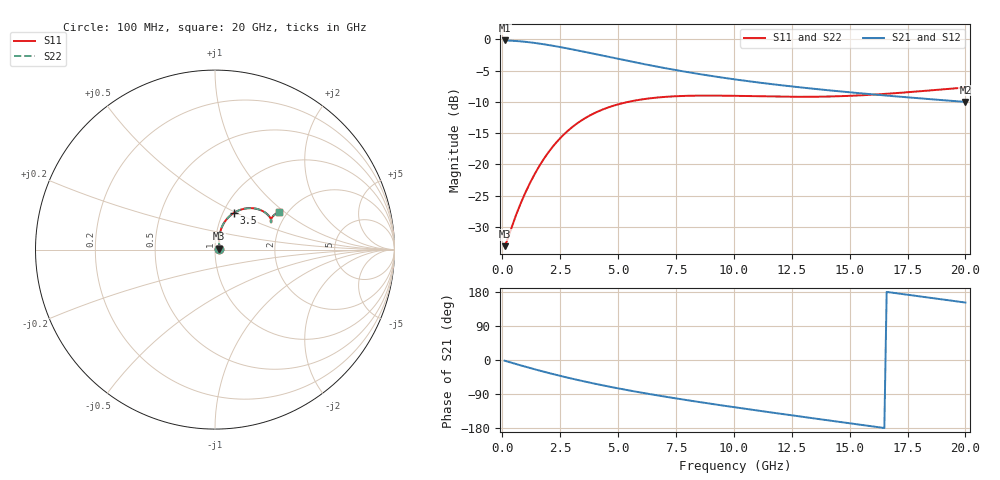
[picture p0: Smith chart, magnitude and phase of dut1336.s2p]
! Touchstone file exported from HFSS 2024.1.0
!  File:  C:/UserFiles/LocalFiles/RDL_TSV_Batchsim/temp_RDL_TSV_1336_1780390597.aedt
!  Generated:  05:16:41 PM Jun  2, 2026
!  Design:  RDL_TSV
!  Project:  temp_RDL_TSV_1336_1780390597
!  Setup:  Setup1
!  Solution:  Sweep
! Variables:
!  dtsv = 7.65um
!  hbump = 3um
!  htsv = 92.52um
!  ldown = 177.77um
!  lrdl = 551.44um
!  p = 40
!  p1 = 52.09um
!  rhole = 10um
!  subl = 2739.07um
!  t = 450um
!  tdown = 2.13um
!  trdl = 3.55um
!  viad = 10um
!  wdown = 22.79um
!  wrdl = 13.1um
!  xbump = 18um
# GHz S MA R 50.000000
! Terminal data exported
! Port[1] = TM1_1_T1
! Port[2] = TM1_4_T1
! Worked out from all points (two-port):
!   200 points, 100 MHz to 20 GHz, reference 50 ohm
!   highest |S21| = -0.19 dB at 100 MHz (marker M1); lowest = -10.0 dB at 20 GHz (marker M2)
!   |S21| within 3 dB of the highest: start of sweep to 5.08 GHz
!   lowest |S11| = -33.1 dB at 100 MHz (marker M3), VSWR 1.05, Z = 52.2 + j0.592 ohm
!   |S11| at or under -10 dB: start of sweep to 5.447 GHz
!   |S22| runs from -33.1 to -7.7 dB; largest |S21 - S12| = 9.7e-14
!   S11 on the Smith chart (normalised r, x): 100 MHz: 1.04, +0.01; 3.5 GHz: 1.12, +0.48; 20 GHz: 1.81, +0.91
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0.1  0.02222 14.8  0.9783 -1.8  0.9783 -1.8  0.02222 14.8
! Gamma 0 0 0 0
! Port Impedance 50 0 50 0
0.2  0.0245 27.3  0.9772 -3.7  0.9772 -3.7  0.0245 27.3
0.6  0.0397 54.8  0.9684 -10.8  0.9684 -10.8  0.0397 54.8
0.9  0.05424 64.7  0.958 -16.0  0.958 -16.0  0.05424 64.7
1.3  0.07742 71.3  0.9399 -22.8  0.9399 -22.8  0.07741 71.3
1.7  0.1041 73.5  0.9178 -29.4  0.9178 -29.4  0.1041 73.5
2.1  0.1328 73.0  0.893 -35.8  0.893 -35.8  0.1328 73.0
2.5  0.162 70.9  0.8664 -41.9  0.8664 -41.9  0.162 70.9
3  0.1973 67.1  0.8318 -49.1  0.8318 -49.1  0.1973 67.2
3.5  0.2296 62.8  0.7969 -56.0  0.7969 -56.0  0.2296 62.8
4.2  0.2681 56.6  0.749 -65.2  0.749 -65.2  0.2681 56.6
4.9  0.2982 50.7  0.7037 -73.7  0.7037 -73.7  0.2982 50.8
5.8  0.3256 44.1  0.6505 -83.9  0.6505 -83.9  0.3256 44.2
6.8  0.3437 38.1  0.5987 -94.4  0.5987 -94.4  0.3437 38.1
8.4  0.3545 31.2  0.5312 -109.9  0.5312 -109.9  0.3545 31.2
10.1  0.3529 27.2  0.4764 -125.3  0.4764 -125.3  0.3529 27.2
11.7  0.3483 25.9  0.4365 -139.2  0.4365 -139.2  0.3483 25.9
13.4  0.3471 26.5  0.4029 -153.6  0.4029 -153.6  0.3471 26.5
15  0.3531 28.0  0.3769 -167.0  0.3769 -167.0  0.3532 28.1
16.7  0.3678 29.6  0.3534 178.8  0.3534 178.8  0.368 29.7
18.3  0.3877 30.4  0.3341 165.6  0.3341 165.6  0.3879 30.5
20  0.4117 30.3  0.3158 151.6  0.3158 151.6  0.412 30.3
